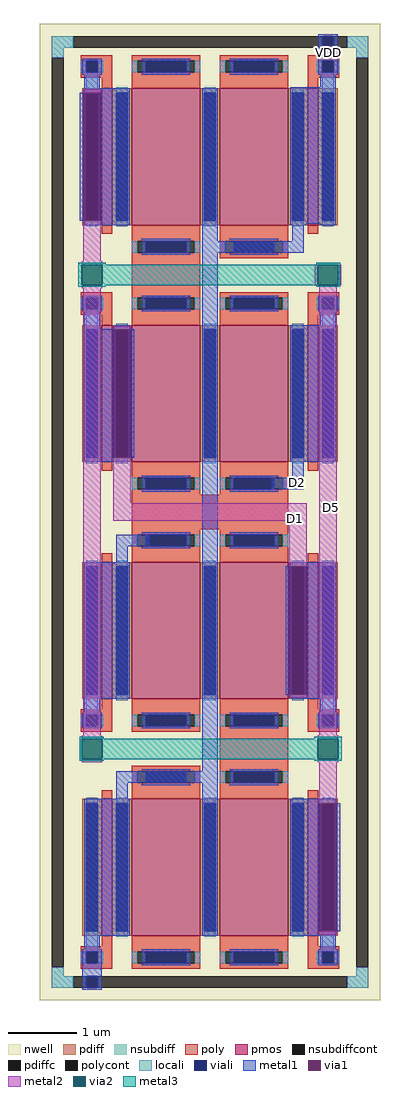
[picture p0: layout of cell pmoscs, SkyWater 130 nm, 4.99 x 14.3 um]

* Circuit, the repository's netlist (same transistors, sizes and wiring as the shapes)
** sch_path: /home/mona121130125/op_amp/mag/pmoscs.sch
.subckt pmoscs vdd D1 D5 D2
*.PININFO vdd:B D1:B D2:B D5:B
XM1 D1 D2 vdd vdd sky130_fd_pr__pfet_01v8 L=1 W=2 nf=1 m=2
XM2 D2 D2 vdd vdd sky130_fd_pr__pfet_01v8 L=1 W=2 nf=1 m=2
XM5 D5 D2 vdd vdd sky130_fd_pr__pfet_01v8 L=1 W=2 nf=1 m=2
XM3 vdd vdd vdd vdd sky130_fd_pr__pfet_01v8 L=1 W=2 nf=1 m=2
XM4 vdd vdd vdd vdd sky130_fd_pr__pfet_01v8 L=0.15 W=2 nf=1 m=2
XM6 D2 D2 D2 vdd sky130_fd_pr__pfet_01v8 L=0.15 W=2 nf=1 m=2
XM7 D1 D1 D1 vdd sky130_fd_pr__pfet_01v8 L=0.15 W=2 nf=1 m=2
XM8 D5 D5 D5 vdd sky130_fd_pr__pfet_01v8 L=0.15 W=2 nf=1 m=2
.ends
.end

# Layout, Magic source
magic
tech sky130A
magscale 1 2
<< nwell >>
rect -176 -1500 822 1360
<< nsubdiff >>
rect -140 1290 -78 1324
rect 725 1290 786 1324
rect -140 1261 -106 1290
rect 752 1261 786 1290
rect -140 -1430 -106 -1404
rect 752 -1430 786 -1404
rect -140 -1464 -78 -1430
rect 725 -1464 786 -1430
<< nsubdiffcont >>
rect -78 1290 725 1324
rect -140 -1404 -106 1261
rect 752 -1404 786 1261
rect -78 -1464 725 -1430
<< poly >>
rect -56 1252 36 1268
rect -56 1218 -40 1252
rect -6 1218 36 1252
rect -56 1202 36 1218
rect 6 1174 36 1202
rect 610 1252 702 1268
rect 610 1218 652 1252
rect 686 1218 702 1252
rect 610 1202 702 1218
rect 610 1191 640 1202
rect 94 574 294 674
rect -56 558 36 574
rect -56 524 -40 558
rect -6 524 36 558
rect -56 508 36 524
rect 6 496 36 508
rect 610 558 702 574
rect 610 524 652 558
rect 686 524 702 558
rect 610 508 702 524
rect 610 501 640 508
rect 94 -120 552 -20
rect 6 -648 36 -620
rect -56 -664 36 -648
rect -56 -698 -40 -664
rect -6 -698 36 -664
rect -56 -714 36 -698
rect 610 -648 640 -620
rect 610 -664 702 -648
rect 610 -698 652 -664
rect 686 -698 702 -664
rect 610 -714 702 -698
rect 352 -814 552 -714
rect 6 -1342 36 -1314
rect -56 -1358 36 -1342
rect -56 -1392 -40 -1358
rect -6 -1392 36 -1358
rect -56 -1408 36 -1392
rect 610 -1342 640 -1314
rect 610 -1358 702 -1342
rect 610 -1392 652 -1358
rect 686 -1392 702 -1358
rect 610 -1408 702 -1392
<< polycont >>
rect -40 1218 -6 1252
rect 652 1218 686 1252
rect -40 524 -6 558
rect 652 524 686 558
rect -40 -698 -6 -664
rect 652 -698 686 -664
rect -40 -1392 -6 -1358
rect 652 -1392 686 -1358
<< locali >>
rect -140 1290 -78 1324
rect 725 1290 786 1324
rect -140 1261 -106 1290
rect 752 1261 786 1290
rect -56 1218 -40 1252
rect -6 1218 10 1252
rect 636 1218 652 1252
rect 686 1218 702 1252
rect -40 1174 -6 1218
rect 652 1167 686 1218
rect -56 524 -40 558
rect -6 524 10 558
rect 636 524 652 558
rect 686 524 702 558
rect -40 471 -6 524
rect 652 469 686 524
rect -40 -664 -6 -620
rect 652 -664 686 -620
rect -56 -698 -40 -664
rect -6 -698 10 -664
rect 636 -698 652 -664
rect 686 -698 702 -664
rect -40 -1358 -6 -1314
rect 652 -1358 686 -1314
rect -56 -1392 -40 -1358
rect -6 -1392 10 -1358
rect 636 -1392 652 -1358
rect 686 -1392 702 -1358
rect -140 -1430 -106 -1404
rect 752 -1430 786 -1404
rect -140 -1464 -78 -1430
rect 725 -1464 786 -1430
<< viali >>
rect 652 1290 686 1324
rect -40 1218 -6 1252
rect 652 1218 686 1252
rect -40 524 -6 558
rect 652 524 686 558
rect -40 -698 -6 -664
rect 652 -698 686 -664
rect -40 -1392 -6 -1358
rect 652 -1392 686 -1358
rect -40 -1464 -6 -1430
<< metal1 >>
rect 640 1324 698 1330
rect 640 1290 652 1324
rect 686 1290 698 1324
rect -52 1252 6 1258
rect -52 1218 -40 1252
rect -6 1218 6 1252
rect -52 1212 6 1218
rect 640 1252 698 1290
rect 640 1218 652 1252
rect 686 1218 698 1252
rect 640 1212 698 1218
rect -46 1171 0 1212
rect 646 1174 692 1212
rect -46 1159 88 1171
rect -59 783 -49 1159
rect 3 783 88 1159
rect -46 771 88 783
rect 300 724 345 1171
rect 558 774 692 1174
rect 564 724 598 774
rect 300 690 598 724
rect -52 558 6 564
rect -52 524 -40 558
rect -6 524 6 558
rect -52 518 6 524
rect -46 465 0 518
rect -46 89 39 465
rect 91 89 101 465
rect -46 77 91 89
rect 48 -170 147 -136
rect 48 -217 82 -170
rect -46 -617 88 -217
rect -46 -658 0 -617
rect -52 -664 6 -658
rect -52 -698 -40 -664
rect -6 -698 6 -664
rect -52 -704 6 -698
rect 300 -830 345 690
rect 640 558 698 564
rect 640 524 652 558
rect 686 524 698 558
rect 640 518 698 524
rect 646 477 692 518
rect 558 77 692 477
rect 564 30 598 77
rect 504 -4 598 30
rect 558 -229 692 -217
rect 545 -605 555 -229
rect 607 -605 692 -229
rect 558 -617 692 -605
rect 646 -658 692 -617
rect 640 -664 698 -658
rect 640 -698 652 -664
rect 686 -698 698 -664
rect 640 -704 698 -698
rect 48 -864 345 -830
rect 48 -911 82 -864
rect -46 -1311 88 -911
rect 300 -1311 345 -864
rect 558 -923 692 -911
rect 558 -1299 643 -923
rect 695 -1299 705 -923
rect 558 -1311 692 -1299
rect -46 -1352 0 -1311
rect 646 -1352 692 -1311
rect -52 -1358 6 -1352
rect -52 -1392 -40 -1358
rect -6 -1392 6 -1358
rect -52 -1430 6 -1392
rect 640 -1358 698 -1352
rect 640 -1392 652 -1358
rect 686 -1392 698 -1358
rect 640 -1398 698 -1392
rect -52 -1464 -40 -1430
rect -6 -1464 6 -1430
rect -52 -1470 6 -1464
<< via1 >>
rect -49 783 3 1159
rect 39 89 91 465
rect 555 -605 607 -229
rect 643 -1299 695 -923
<< metal2 >>
rect -49 1159 3 1169
rect -49 665 3 783
rect -53 655 7 665
rect 630 595 639 655
rect 699 595 708 655
rect -53 585 7 595
rect -49 -725 3 585
rect 39 465 91 475
rect 39 -44 91 89
rect 39 -96 607 -44
rect 555 -229 607 -96
rect 555 -615 607 -605
rect 643 -724 695 595
rect -53 -734 7 -725
rect -53 -803 7 -794
rect 639 -734 699 -724
rect 639 -804 699 -794
rect 643 -923 695 -804
rect 643 -1309 695 -1299
<< via2 >>
rect -53 595 7 655
rect 639 595 699 655
rect -53 -794 7 -734
rect 639 -794 699 -734
<< metal3 >>
rect -63 655 17 660
rect 634 655 704 660
rect -63 595 -53 655
rect 7 595 639 655
rect 699 595 704 655
rect -63 590 17 595
rect 634 590 704 595
rect -58 -734 12 -729
rect 629 -734 709 -729
rect -58 -794 -53 -734
rect 7 -794 639 -734
rect 699 -794 709 -734
rect -58 -799 12 -794
rect 629 -799 709 -794
use sky130_fd_pr__pfet_01v8_2ZH9AN  sky130_fd_pr__pfet_01v8_2ZH9AN_0
transform 1 0 625 0 1 277
box -109 -262 109 262
use sky130_fd_pr__pfet_01v8_2ZH9AN  sky130_fd_pr__pfet_01v8_2ZH9AN_1
transform 1 0 21 0 1 -1111
box -109 -262 109 262
use sky130_fd_pr__pfet_01v8_2ZH9AN  sky130_fd_pr__pfet_01v8_2ZH9AN_2
transform 1 0 625 0 1 -1111
box -109 -262 109 262
use sky130_fd_pr__pfet_01v8_2ZH9AN  sky130_fd_pr__pfet_01v8_2ZH9AN_3
transform 1 0 21 0 1 -417
box -109 -262 109 262
use sky130_fd_pr__pfet_01v8_2ZH9AN  sky130_fd_pr__pfet_01v8_2ZH9AN_4
transform 1 0 625 0 1 -417
box -109 -262 109 262
use sky130_fd_pr__pfet_01v8_2ZH9AN  sky130_fd_pr__pfet_01v8_2ZH9AN_5
transform 1 0 21 0 1 277
box -109 -262 109 262
use sky130_fd_pr__pfet_01v8_2ZH9AN  sky130_fd_pr__pfet_01v8_2ZH9AN_6
transform 1 0 625 0 1 971
box -109 -262 109 262
use sky130_fd_pr__pfet_01v8_2ZH9AN  sky130_fd_pr__pfet_01v8_2ZH9AN_7
transform 1 0 21 0 1 971
box -109 -262 109 262
use sky130_fd_pr__pfet_01v8_SDE6B7  sky130_fd_pr__pfet_01v8_SDE6B7_0
transform 1 0 323 0 1 -1111
box -323 -300 323 300
use sky130_fd_pr__pfet_01v8_SDE6B7  sky130_fd_pr__pfet_01v8_SDE6B7_1
transform 1 0 323 0 1 -417
box -323 -300 323 300
use sky130_fd_pr__pfet_01v8_SDE6B7  sky130_fd_pr__pfet_01v8_SDE6B7_2
transform 1 0 323 0 1 277
box -323 -300 323 300
use sky130_fd_pr__pfet_01v8_SDE6B7  sky130_fd_pr__pfet_01v8_SDE6B7_3
transform 1 0 323 0 1 971
box -323 -300 323 300
<< labels >>
flabel metal2 678 -58 678 -58 0 FreeSans 160 0 0 0 D5
port 0 nsew
flabel metal1 578 16 578 16 0 FreeSans 160 0 0 0 D2
port 1 nsew
flabel metal2 574 -90 574 -90 0 FreeSans 160 0 0 0 D1
port 2 nsew
flabel metal1 670 1276 670 1276 0 FreeSans 160 0 0 0 VDD
port 3 nsew
<< end >>

# cell sky130_fd_pr__pfet_01v8_2ZH9AN: kit device sky130_fd_pr__pfet_01v8, w 2 l 0.15 m 1 nf 1 diffcov 100 polycov 100 guard 0 glc 1 grc 1 gtc 1 gbc 1 tbcov 100 rlcov 100 topc 0 botc 0 poverlap 0 doverlap 1 lmin 0.15 wmin 0.42 compatible {sky130_fd_pr__pfet_01v8 sky130_fd_pr__pfet_01v8_lvt sky130_fd_pr__pfet_01v8_hvt sky130_fd_pr__pfet_g5v0d10v5} full_metal 1 viasrc 100 viadrn 100 viagate 100 viagb 0 viagr 0 viagl 0 viagt 0

# cell sky130_fd_pr__pfet_01v8_SDE6B7: kit device sky130_fd_pr__pfet_01v8, w 2 l 1 m 1 nf 2 diffcov 100 polycov 100 guard 0 glc 1 grc 1 gtc 1 gbc 1 tbcov 100 rlcov 100 topc 1 botc 1 poverlap 0 doverlap 1 lmin 0.15 wmin 0.42 compatible {sky130_fd_pr__pfet_01v8 sky130_fd_pr__pfet_01v8_lvt sky130_fd_pr__pfet_01v8_hvt sky130_fd_pr__pfet_g5v0d10v5} full_metal 1 viasrc 100 viadrn 100 viagate 70 viagb 0 viagr 0 viagl 0 viagt 0
